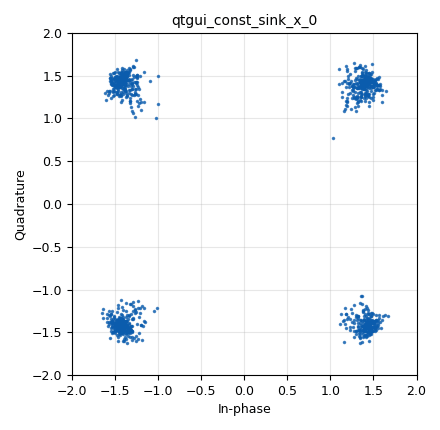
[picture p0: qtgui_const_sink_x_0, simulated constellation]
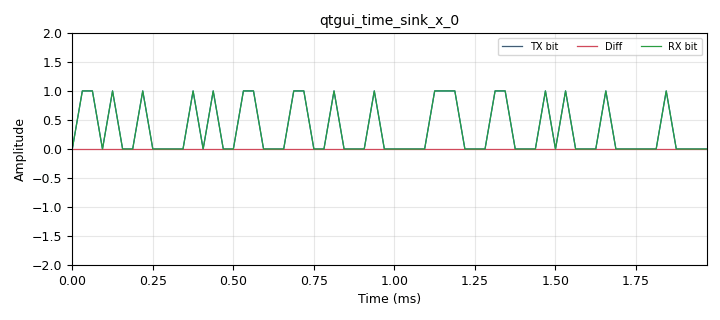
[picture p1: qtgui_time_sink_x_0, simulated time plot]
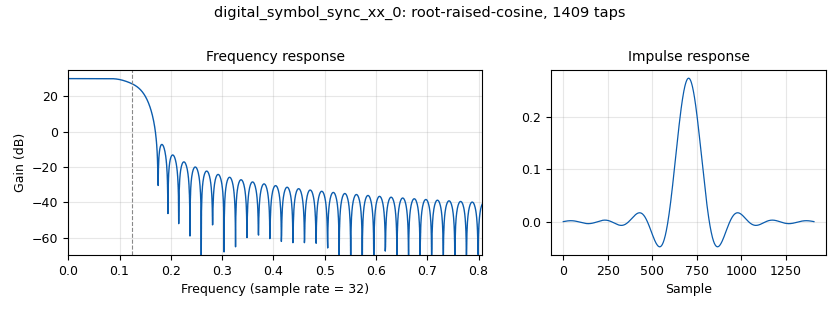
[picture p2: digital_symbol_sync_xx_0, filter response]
options:
  parameters:
    author: Barry Duggan
    category: Custom
    generate_options: qt_gui
    id: qpsk_stage6_ss
    output_language: python
    title: qpsk_stage6_ss
  states: {}

blocks:
- name: delay
  id: variable_qtgui_range
  parameters:
    comment: 0,3,1,1
    gui_hint: 0,3,1,1
    label: Delay
    start: '0'
    step: '1'
    stop: '200'
    value: '32'
  states: {}
- name: excess_bw
  id: variable
  parameters:
    value: '0.35'
  states: {}
- name: freq_offset
  id: variable_qtgui_range
  parameters:
    comment: 0,2,1,1
    gui_hint: 0,2,1,1
    label: 'Channel: Frequency Offset'
    start: '-0.1'
    step: '0.001'
    stop: '0.1'
    value: '0.005'
  states: {}
- name: nfilts
  id: variable
  parameters:
    value: '32'
  states: {}
- name: noise_volt
  id: variable_qtgui_range
  parameters:
    comment: 0,0,1,1
    gui_hint: 0,0,1,1
    label: 'Channel: Noise Voltage'
    start: '0'
    step: '0.01'
    stop: '1'
    value: '0.0'
  states: {}
- name: phase_bw
  id: variable
  parameters:
    value: '0.0628'
  states: {}
- name: qpsk
  id: variable_constellation_rect
  parameters:
    const_points: '[0.707+0.707j, -0.707+0.707j, -0.707-0.707j, 0.707-0.707j]'
    imag_sect: '2'
    real_sect: '2'
    rot_sym: '4'
    sym_map: '[0, 1, 2, 3]'
    w_imag_sect: '1'
    w_real_sect: '1'
  states: {}
- name: rrc_taps
  id: variable
  parameters:
    value: firdes.root_raised_cosine(nfilts, nfilts, 1.0/float(sps), 0.35, 11*sps*nfilts)
  states: {}
- name: samp_rate
  id: variable
  parameters:
    value: '32000'
  states: {}
- name: sps
  id: variable
  parameters:
    value: '4'
  states: {}
- name: time_offset
  id: variable_qtgui_range
  parameters:
    comment: 0,1,1,1
    gui_hint: 0,1,1,1
    label: 'Channel: Timing Offset'
    start: '0.999'
    step: '0.0001'
    stop: '1.001'
    value: '1.000'
  states: {}
- name: variable_adaptive_algorithm_0
  id: variable_adaptive_algorithm
  parameters:
    cons: qpsk
    modulus: '4'
    step_size: '.0001'
    type: cma
  states: {}
- name: analog_random_source_x_0
  id: analog_random_source_x
  parameters:
    max: '256'
    min: '0'
    num_samps: '10000'
    repeat: 'True'
    type: byte
  states: {}
- name: blocks_add_xx_0
  id: blocks_add_xx
  parameters:
    num_inputs: '4'
    type: complex
  states: {}
- name: blocks_char_to_float_0_0
  id: blocks_char_to_float
  parameters:
    scale: '1'
  states: {}
- name: blocks_char_to_float_0_0_0
  id: blocks_char_to_float
  parameters:
    scale: '1'
  states: {}
- name: blocks_delay_0
  id: blocks_delay
  parameters:
    delay: int(delay)
    type: float
  states: {}
- name: blocks_sub_xx_0
  id: blocks_sub_xx
  parameters:
    type: float
  states: {}
- name: blocks_throttle2_0
  id: blocks_throttle2
  parameters:
    samples_per_second: samp_rate
    type: complex
  states: {}
- name: blocks_unpack_k_bits_bb_0
  id: blocks_unpack_k_bits_bb
  parameters:
    k: '2'
  states: {}
- name: blocks_unpack_k_bits_bb_0_0
  id: blocks_unpack_k_bits_bb
  parameters:
    k: '8'
  states: {}
- name: channels_channel_model_0
  id: channels_channel_model
  parameters:
    comment: Epsilon is the time offset
    epsilon: time_offset
    freq_offset: freq_offset
    noise_voltage: noise_volt
    seed: '0'
    taps: '1'
  states: {}
- name: channels_channel_model_0_0
  id: channels_channel_model
  parameters:
    comment: Epsilon is the time offset
    epsilon: time_offset
    freq_offset: freq_offset
    noise_voltage: noise_volt*1.0
    seed: '0'
    taps: '1'
  states: {}
- name: channels_channel_model_0_0_0
  id: channels_channel_model
  parameters:
    comment: Epsilon is the time offset
    epsilon: time_offset
    freq_offset: freq_offset
    noise_voltage: noise_volt*1.0
    seed: '0'
    taps: '1'
  states: {}
- name: channels_channel_model_0_0_0_0
  id: channels_channel_model
  parameters:
    comment: Epsilon is the time offset
    epsilon: time_offset
    freq_offset: freq_offset
    noise_voltage: noise_volt*1.0
    seed: '0'
    taps: '1'
  states: {}
- name: digital_constellation_decoder_cb_0
  id: digital_constellation_decoder_cb
  parameters:
    constellation: qpsk
  states: {}
- name: digital_constellation_modulator_0
  id: digital_constellation_modulator
  parameters:
    constellation: qpsk
    differential: 'True'
    excess_bw: excess_bw
    samples_per_symbol: sps
  states: {}
- name: digital_costas_loop_cc_0
  id: digital_costas_loop_cc
  parameters:
    order: '4'
    w: phase_bw
  states: {}
- name: digital_diff_decoder_bb_0
  id: digital_diff_decoder_bb
  parameters:
    coding: digital.DIFF_DIFFERENTIAL
    modulus: '4'
  states: {}
- name: digital_linear_equalizer_0
  id: digital_linear_equalizer
  parameters:
    alg: variable_adaptive_algorithm_0
    num_taps: '15'
    sps: '2'
  states: {}
- name: digital_map_bb_0
  id: digital_map_bb
  parameters:
    map: '[0,1,2,3]'
  states: {}
- name: digital_symbol_sync_xx_0
  id: digital_symbol_sync_xx
  parameters:
    damping: '1.0'
    loop_bw: phase_bw
    max_dev: '1.5'
    nfilters: '32'
    osps: '2'
    pfb_mf_taps: rrc_taps
    resamp_type: digital.IR_PFB_MF
    sps: sps
    ted_gain: '1.0'
    ted_type: digital.TED_SIGNAL_TIMES_SLOPE_ML
    type: cc
  states: {}
- name: qtgui_const_sink_x_0
  id: qtgui_const_sink_x
  parameters:
    comment: 1,0,1,2
    gui_hint: 1,0,1,2
    name: ''
    size: '1024'
    type: complex
  states: {}
- name: qtgui_time_sink_x_0
  id: qtgui_time_sink_x
  parameters:
    comment: 1,2,1,2
    gui_hint: 1,2,1,2
    label1: TX bit
    label2: Diff
    label3: RX bit
    name: ''
    nconnections: '3'
    size: '64'
    srate: samp_rate
    tr_mode: qtgui.TRIG_MODE_AUTO
    type: float
    ymax: '2'
    ymin: '-2'
  states: {}
- name: virtual_sink_0
  id: virtual_sink
  parameters:
    stream_id: r1
  states: {}
- name: virtual_sink_1
  id: virtual_sink
  parameters:
    stream_id: r2
  states: {}
- name: virtual_sink_2
  id: virtual_sink
  parameters:
    stream_id: t1
  states: {}
- name: virtual_source_0
  id: virtual_source
  parameters:
    stream_id: r1
  states: {}
- name: virtual_source_1
  id: virtual_source
  parameters:
    stream_id: r2
  states: {}
- name: virtual_source_2
  id: virtual_source
  parameters:
    stream_id: t1
  states: {}

connections:
- [analog_random_source_x_0, '0', digital_constellation_modulator_0, '0']
- [analog_random_source_x_0, '0', virtual_sink_2, '0']
- [blocks_add_xx_0, '0', digital_symbol_sync_xx_0, '0']
- [blocks_char_to_float_0_0, '0', blocks_sub_xx_0, '0']
- [blocks_char_to_float_0_0, '0', qtgui_time_sink_x_0, '0']
- [blocks_char_to_float_0_0_0, '0', blocks_delay_0, '0']
- [blocks_delay_0, '0', blocks_sub_xx_0, '1']
- [blocks_delay_0, '0', qtgui_time_sink_x_0, '2']
- [blocks_sub_xx_0, '0', qtgui_time_sink_x_0, '1']
- [blocks_throttle2_0, '0', channels_channel_model_0, '0']
- [blocks_throttle2_0, '0', channels_channel_model_0_0, '0']
- [blocks_throttle2_0, '0', channels_channel_model_0_0_0, '0']
- [blocks_throttle2_0, '0', channels_channel_model_0_0_0_0, '0']
- [blocks_unpack_k_bits_bb_0, '0', blocks_char_to_float_0_0, '0']
- [blocks_unpack_k_bits_bb_0_0, '0', blocks_char_to_float_0_0_0, '0']
- [channels_channel_model_0, '0', blocks_add_xx_0, '0']
- [channels_channel_model_0_0, '0', blocks_add_xx_0, '1']
- [channels_channel_model_0_0_0, '0', blocks_add_xx_0, '2']
- [channels_channel_model_0_0_0_0, '0', blocks_add_xx_0, '3']
- [digital_constellation_decoder_cb_0, '0', digital_diff_decoder_bb_0, '0']
- [digital_constellation_modulator_0, '0', blocks_throttle2_0, '0']
- [digital_costas_loop_cc_0, '0', digital_constellation_decoder_cb_0, '0']
- [digital_costas_loop_cc_0, '0', qtgui_const_sink_x_0, '0']
- [digital_diff_decoder_bb_0, '0', digital_map_bb_0, '0']
- [digital_linear_equalizer_0, '0', virtual_sink_0, '0']
- [digital_map_bb_0, '0', virtual_sink_1, '0']
- [digital_symbol_sync_xx_0, '0', digital_linear_equalizer_0, '0']
- [virtual_source_0, '0', digital_costas_loop_cc_0, '0']
- [virtual_source_1, '0', blocks_unpack_k_bits_bb_0, '0']
- [virtual_source_2, '0', blocks_unpack_k_bits_bb_0_0, '0']

metadata:
  file_format: 1
  grc_version: 3.10.7.0
